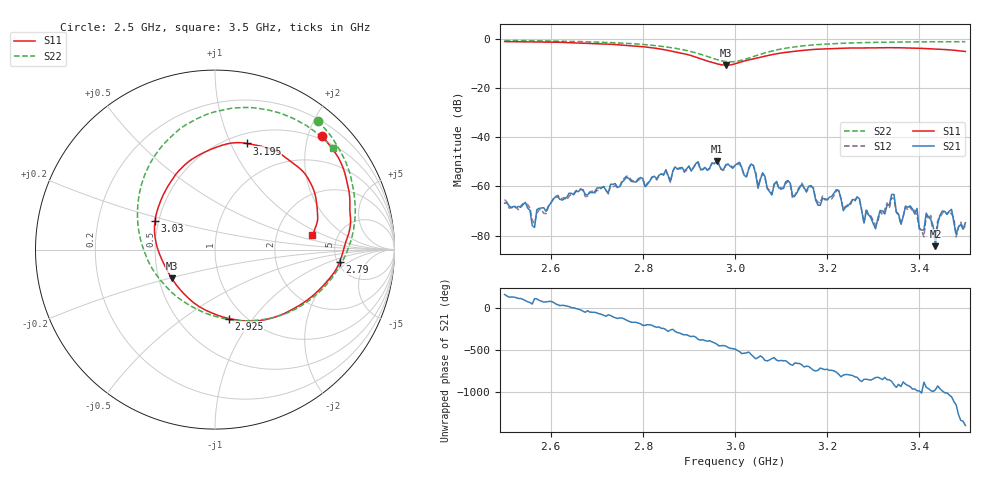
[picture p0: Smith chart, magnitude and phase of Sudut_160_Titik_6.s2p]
# Hz S RI R 50
! CMT, C1220, 16058040, 17.2.0/1
! Date: 15/08/2018 10:17:32
! Data: Format (Calibration Info)
! Freq  S11: Re/Im (F2)  S21: Re/Im (F2)  S12: Re/Im (F2)  S22: Re/Im (F2)
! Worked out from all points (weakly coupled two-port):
!   201 points, 2.5 GHz to 3.5 GHz, reference 50 ohm
!   highest |S21| = -49.74 dB at 2.96 GHz (marker M1); lowest = -84.3 dB at 3.435 GHz (marker M2)
!   lowest |S11| = -10.8 dB at 2.98 GHz (marker M3), VSWR 1.81, Z = 29.3 - j10.2 ohm
!   |S11| at or under -10 dB: 2.957 GHz to 3.004 GHz (47.4 MHz wide, 1.59 % of centre)
!   |S22| runs from -9.4 to -0.7 dB; largest |S21 - S12| = 0.00024
!   S11 on the Smith chart (normalised r, x): 2.5 GHz: 0.43, +2.25; 2.79 GHz: 5.24, -1.38; 2.925 GHz: 0.85, -0.77; 3.03 GHz: 0.48, +0.17; 3.195 GHz: 0.60, +1.15; 3.5 GHz: 3.25, +0.73
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2.5e9  0.5975 0.6346  -0.000412 0.000195  -0.000494 0.000218  0.5735 0.7163
2.545e9  0.6452 0.5704  5.98e-05 0.000471  3.64e-05 0.000445  0.6241 0.6611
2.565e9  0.6679 0.5415  -4e-05 0.000141  -2.59e-05 0.000176  0.6455 0.6334
2.67e9  0.7482 0.3146  0.000619 -0.000588  0.000553 -0.000647  0.7448 0.4438
2.79e9  0.6943 -0.0674  -0.00142 8.75e-05  -0.00132 0.00015  0.7691 0.0955
2.835e9  0.5786 -0.2257  -0.00106 0.00131  -0.00105 0.00122  0.7024 -0.0788
2.925e9  0.0766 -0.3842  0.00201 -0.00102  0.00197 -0.000872  0.288 -0.3868
2.96e9  -0.1462 -0.2722  0.000945 -0.00312  0.000975 -0.00322  0.0179 -0.3766
2.98e9  -0.2411 -0.1599  -0.000389 -0.00274  -0.000318 -0.00264  -0.1364 -0.3137
3e9  -0.3065 -0.0315  -0.00185 -0.00195  -0.00187 -0.00182  -0.2718 -0.2068
3.03e9  -0.3345 0.1574  -0.00227 -0.000402  -0.00232 -0.000436  -0.4016 0.0116
3.08e9  -0.2178 0.42  -0.000267 0.000613  -0.000295 0.000636  -0.4014 0.3887
3.17e9  0.0987 0.5941  0.000812 -0.000388  0.000881 -0.000325  -0.0749 0.7411
3.195e9  0.1776 0.5915  0.000529 -0.000184  0.000475 -0.000243  0.0184 0.772
3.265e9  0.3623 0.5355  -0.000199 -0.000576  -0.000185 -0.000579  0.2423 0.7865
3.305e9  0.4432 0.4756  -5.36e-05 -0.000127  -7.73e-05 -0.000143  0.3431 0.7659
3.335e9  0.4938 0.4309  -0.000318 -0.000271  -0.000298 -0.000212  0.409 0.7426
3.41e9  0.5624 0.2856  -0.000128 -2.93e-05  -9.22e-05 -2.17e-05  0.5411 0.6685
3.425e9  0.5672 0.2496  -6.05e-06 0.000211  -3.38e-05 0.000255  0.5633 0.6527
3.435e9  0.5698 0.2249  -1.39e-05 5.96e-05  -1.18e-05 9.22e-05  0.5778 0.641
3.45e9  0.5721 0.1912  1.32e-05 0.000316  -2.38e-05 0.000285  0.5977 0.6236
3.5e9  0.5425 0.0789  0.000146 0.000112  0.000143 7.49e-05  0.656 0.5643
